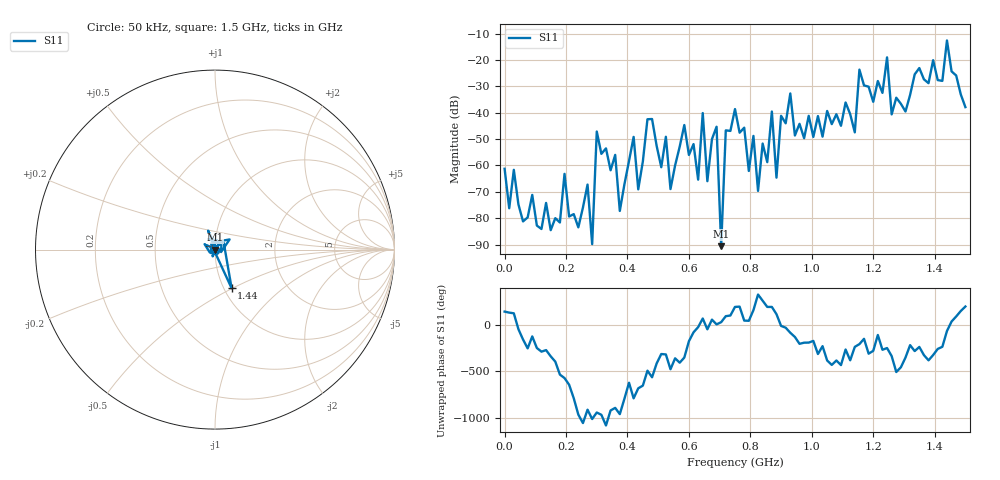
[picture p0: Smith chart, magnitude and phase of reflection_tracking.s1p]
! Created with skrf 1.8.0 (http://scikit-rf.org).
# Hz S RI R 50.0
!freq ReS11 ImS11
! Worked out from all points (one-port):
!   101 points, 50 kHz to 1.5 GHz, reference 50 ohm
!   lowest |S11| = -90.6 dB at 705 MHz (marker M1), VSWR 1.00, Z = 50 + j0.00142 ohm
!   |S11| at or under -10 dB: start of sweep to end of sweep
!   S11 on the Smith chart (normalised r, x): 50 kHz: 1.00, +0.00; 1.44 GHz: 1.09, -0.50; 1.5 GHz: 0.98, -0.01
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50000  -0.000687 0.000527
6.0048e7  -8.06e-05 -3.26e-05
1.950435e8  -0.000581 0.000377
2.850405e8  1.33e-05 2.93e-05
3.0004e8  -0.00316 0.00307
3.60038e8  -0.00158 -0.000161
3.750375e8  -6.53e-05 0.000121
4.650345e8  -0.00519 -0.00545
5.40032e8  -0.000169 -0.000314
5.70031e8  0.00154 -0.00167
6.30029e8  0.000489 -0.000224
6.450285e8  0.00366 0.00915
6.60028e8  0.000336 -0.000374
6.90027e8  0.0054 0.000467
7.050265e8  2.58e-05 1.42e-05
7.20026e8  -0.000277 0.00462
7.50025e8  -0.0114 -0.00267
8.250225e8  0.000274 -0.000183
8.70021e8  -0.0103 -0.00235
8.850205e8  -0.000249 0.000532
9.30019e8  0.00194 -0.0231
9.450185e8  -0.00241 -0.00281
1.125012e9  0.00871 -0.00351
1.245008e9  -0.0384 0.1053
1.260008e9  0.00853 0.00373
1.320006e9  -0.017 0.0136
1.440002e9  0.0927 -0.2156
1.5e9  -0.0122 -0.00378
